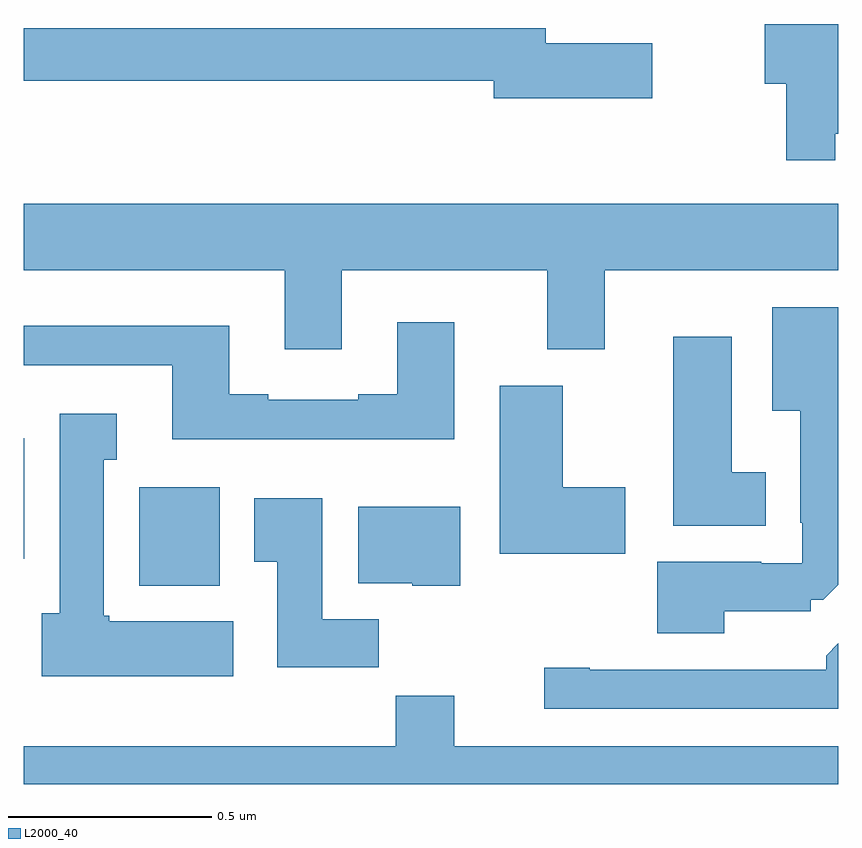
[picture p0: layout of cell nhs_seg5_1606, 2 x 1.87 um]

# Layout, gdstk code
import gdstk
lib = gdstk.Library(unit=1e-6, precision=1e-09)
def R(c, l, rs):  # rectangles x0, y0, x1, y1
    for r in rs: c.add(gdstk.rectangle(r[:2], r[2:], *l))
def P(c, l, *ps):  # polygons
    for p in ps: c.add(gdstk.Polygon(p, *l))
L2000_40 = (2000, 40)

nhs_seg5_1606 = lib.new_cell('nhs_seg5_1606')
R(nhs_seg5_1606, L2000_40, [(132.284,889.286,132.481,889.528), (132,889.352,132.001,889.648)])
P(nhs_seg5_1606, L2000_40, [(133.993,890.396),(134,890.396),(134,890.665),(133.82,890.665),(133.82,890.518),(133.872,890.518),(133.872,890.331),(133.993,890.331)],
  [(133.543,890.618),(133.282,890.618),(133.282,890.654),(132,890.654),(132,890.526),(133.154,890.526),(133.154,890.483),(133.543,890.483)],
  [(132.781,890.06),(133.286,890.06),(133.286,889.866),(133.426,889.866),(133.426,890.06),(134,890.06),(134,890.224),(132,890.224),(132,890.06),(132.641,890.06),(132.641,889.866),(132.781,889.866)],
  [(133.72,889.223),(133.932,889.223),(133.932,889.251),(133.963,889.251),(134,889.288),(134,889.969),(133.838,889.969),(133.838,889.715),(133.907,889.715),(133.907,889.441),(133.911,889.441),(133.911,889.341),(133.811,889.341),(133.811,889.345),(133.556,889.345),(133.556,889.169),(133.72,889.169)],
  [(133.057,889.933),(132.917,889.933),(132.917,889.756),(132.821,889.756),(132.821,889.743),(132.601,889.743),(132.601,889.756),(132.505,889.756),(132.505,889.924),(132,889.924),(132,889.827),(132.365,889.827),(132.365,889.646),(133.057,889.646)],
  [(133.822,889.564),(133.738,889.564),(133.738,889.897),(133.595,889.897),(133.595,889.433),(133.822,889.433)],
  [(133.477,889.527),(133.324,889.527),(133.324,889.777),(133.169,889.777),(133.169,889.364),(133.477,889.364)],
  [(132.514,889.198),(132.21,889.198),(132.21,889.212),(132.196,889.212),(132.196,889.595),(132.229,889.595),(132.229,889.708),(132.089,889.708),(132.089,889.218),(132.044,889.218),(132.044,889.064),(132.514,889.064)],
  [(132.872,889.204),(132.733,889.204),(132.733,889.501),(132.566,889.501),(132.566,889.345),(132.623,889.345),(132.623,889.086),(132.872,889.086)],
  [(133.072,889.48),(132.821,889.48),(132.821,889.292),(132.954,889.292),(132.954,889.286),(133.072,889.286)],
  [(134,889.145),(133.97,889.114),(133.97,889.08),(133.39,889.08),(133.39,889.085),(133.278,889.085),(133.278,888.984),(134,888.984)],
  [(134,888.892),(133.057,888.892),(133.057,889.016),(132.913,889.016),(132.913,888.892),(132,888.892),(132,888.799),(134,888.799)])

lib.write_gds('nhs_seg5_1606.gds')
